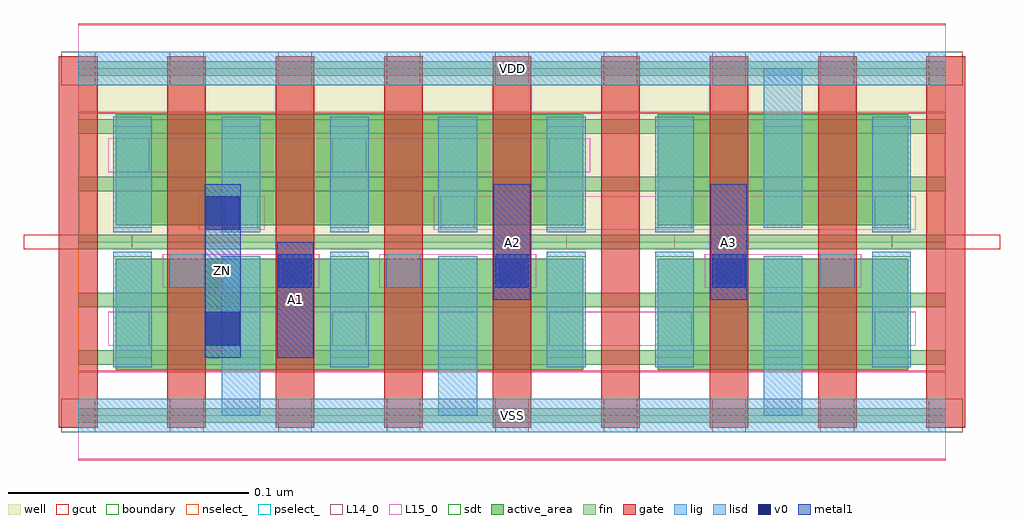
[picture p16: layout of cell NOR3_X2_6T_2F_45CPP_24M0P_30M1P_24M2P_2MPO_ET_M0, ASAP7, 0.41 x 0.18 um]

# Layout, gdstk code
import gdstk
lib = gdstk.Library(unit=1e-6, precision=2.5e-10)
def R(c, l, rs):  # rectangles x0, y0, x1, y1
    for r in rs: c.add(gdstk.rectangle(r[:2], r[2:], *l))
def A(c, l, x, y, w, h, nx, ny, dx, dy):  # array of equal rectangles
    R(c, l, [(x+i*dx, y+j*dy, x+i*dx+w, y+j*dy+h) for i in range(nx) for j in range(ny)])
well = (1, 0)
fin = (2, 0)
gate = (7, 0)
gcut = (10, 0)
active_area = (11, 0)
nselect_ = (12, 0)
pselect_ = (13, 0)
L14_0 = (14, 0)
L15_0 = (15, 0)
lig = (16, 0)
lisd = (17, 0)
v0 = (18, 0)
metal1 = (19, 0)
sdt = (88, 0)
boundary = (100, 0)

nor3_x2_6t_2f_45cpp_24m0 = lib.new_cell('NOR3_X2_6T_2F_45CPP_24M0P_30M1P_24M2P_2MPO_ET_M0')
R(nor3_x2_6t_2f_45cpp_24m0, well, [(0,0.072,0.36,0.144)])
A(nor3_x2_6t_2f_45cpp_24m0, fin, 0, -0.003, 0.36, 0.006, 1, 7, 0, 0.024)
A(nor3_x2_6t_2f_45cpp_24m0, gate, -0.008, -0.005, 0.016, 0.154, 9, 1, 0.045, 0)
R(nor3_x2_6t_2f_45cpp_24m0, gcut, [(0,-0.0185,0.36,0.0185), (-0.0225,0.069,0.0225,0.075), (0.2025,0.069,0.2475,0.075), (0.3375,0.069,0.3825,0.075), (0,0.1255,0.36,0.1625)])
R(nor3_x2_6t_2f_45cpp_24m0, active_area, [(0.0155,0.019,0.1195,0.065), (0.1055,0.019,0.2095,0.065), (0.2405,0.019,0.3445,0.065), (0.0155,0.079,0.1195,0.125), (0.1055,0.079,0.2095,0.125), (0.2405,0.079,0.3445,0.125)])
R(nor3_x2_6t_2f_45cpp_24m0, nselect_, [(0,0,0.36,0.072)])
R(nor3_x2_6t_2f_45cpp_24m0, pselect_, [(0,0.072,0.36,0.144)])
A(nor3_x2_6t_2f_45cpp_24m0, L14_0, -0.007, -0.007, 0.014, 0.014, 9, 2, 0.045, 0.144)
A(nor3_x2_6t_2f_45cpp_24m0, L14_0, 0.0155, 0.029, 0.014, 0.014, 3, 2, 0.09, 0.072)
A(nor3_x2_6t_2f_45cpp_24m0, L14_0, 0.038, 0.053, 0.014, 0.014, 4, 1, 0.045, 0)
A(nor3_x2_6t_2f_45cpp_24m0, L14_0, 0.0605, 0.077, 0.014, 0.014, 4, 1, 0.09, 0)
R(nor3_x2_6t_2f_45cpp_24m0, L14_0, [(0.2405,0.029,0.2545,0.043), (0.3305,0.029,0.3445,0.043), (0.263,0.053,0.277,0.067), (0.308,0.053,0.322,0.067)])
R(nor3_x2_6t_2f_45cpp_24m0, L15_0, [(0,-0.018,0.36,0.018), (0.0125,0.029,0.3475,0.043), (0.035,0.053,0.1,0.067), (0.125,0.053,0.19,0.067), (0.26,0.053,0.325,0.067), (0.05,0.077,0.0775,0.091), (0.1475,0.077,0.3475,0.091), (0.0125,0.101,0.2125,0.115), (0,0.126,0.36,0.162)])
A(nor3_x2_6t_2f_45cpp_24m0, lig, 0.038, 0.053, 0.014, 0.014, 4, 1, 0.045, 0)
R(nor3_x2_6t_2f_45cpp_24m0, lig, [(0,-0.007,0.36,0.007), (0.263,0.053,0.277,0.067), (0.308,0.053,0.322,0.067), (0,0.137,0.36,0.151)])
A(nor3_x2_6t_2f_45cpp_24m0, lisd, 0.0145, 0.02, 0.016, 0.048, 3, 1, 0.09, 0)
A(nor3_x2_6t_2f_45cpp_24m0, lisd, 0.0145, 0.076, 0.016, 0.048, 6, 1, 0.045, 0)
R(nor3_x2_6t_2f_45cpp_24m0, lisd, [(0.0595,0,0.0755,0.066), (0.1495,0,0.1655,0.066), (0.2845,0,0.3005,0.066), (0.2395,0.02,0.2555,0.068), (0.3295,0.02,0.3455,0.068), (0.3295,0.076,0.3455,0.124), (0.2845,0.078,0.3005,0.144)])
A(nor3_x2_6t_2f_45cpp_24m0, v0, 0.083, 0.053, 0.014, 0.014, 3, 1, 0.09, 0)
R(nor3_x2_6t_2f_45cpp_24m0, v0, [(0.053,0.029,0.067,0.043), (0.053,0.077,0.067,0.091)])
R(nor3_x2_6t_2f_45cpp_24m0, metal1, [(0.0525,0.024,0.0675,0.096), (0.0825,0.024,0.0975,0.072), (0.1725,0.048,0.1875,0.096), (0.2625,0.048,0.2775,0.096)])
A(nor3_x2_6t_2f_45cpp_24m0, sdt, 0.0145, 0.024, 0.016, 0.042, 8, 2, 0.045, 0.054)
R(nor3_x2_6t_2f_45cpp_24m0, boundary, [(0,0,0.36,0.144)])
nor3_x2_6t_2f_45cpp_24m0.add(gdstk.Label('A3', (0.27,0.072), layer=19, texttype=251))
nor3_x2_6t_2f_45cpp_24m0.add(gdstk.Label('A2', (0.18,0.072), layer=19, texttype=251))
nor3_x2_6t_2f_45cpp_24m0.add(gdstk.Label('A1', (0.09,0.048), layer=19, texttype=251))
nor3_x2_6t_2f_45cpp_24m0.add(gdstk.Label('ZN', (0.06,0.06), layer=19, texttype=251))
nor3_x2_6t_2f_45cpp_24m0.add(gdstk.Label('VDD', (0.18,0.144), layer=15, texttype=251))
nor3_x2_6t_2f_45cpp_24m0.add(gdstk.Label('VSS', (0.18,0), layer=15, texttype=251))
nor3_x2_6t_2f_45cpp_24m0.add(gdstk.Label('VDD', (0.18,0.144), layer=1, texttype=251))
nor3_x2_6t_2f_45cpp_24m0.add(gdstk.Label('VSS', (0.18,0), layer=3, texttype=251))

lib.write_gds('NOR3_X2_6T_2F_45CPP_24M0P_30M1P_24M2P_2MPO_ET_M0.gds')
